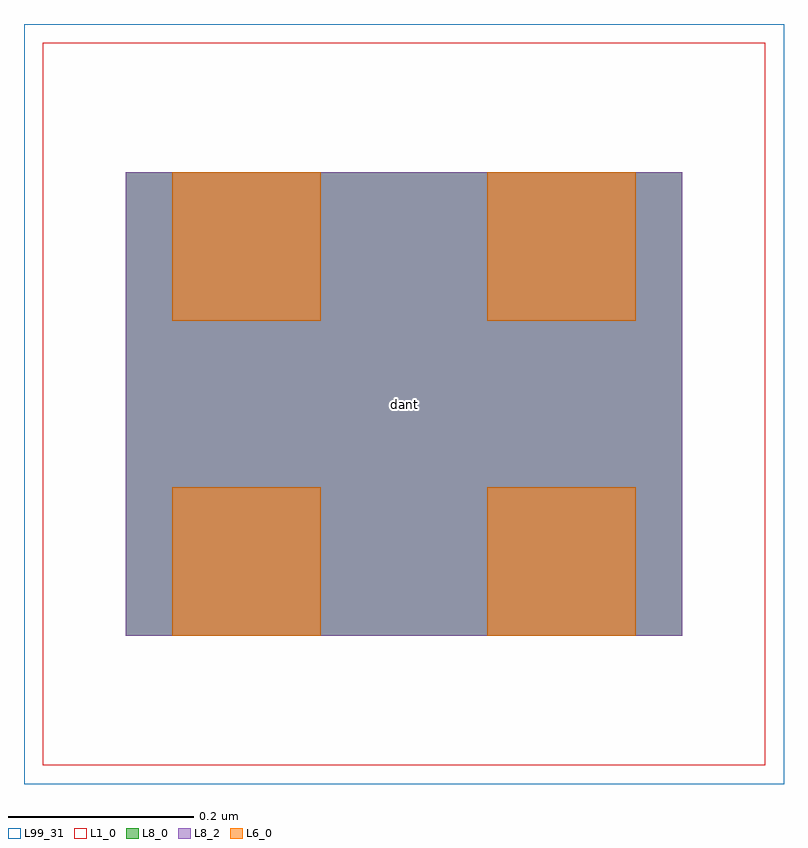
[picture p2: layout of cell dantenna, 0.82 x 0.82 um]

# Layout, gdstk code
import gdstk
lib = gdstk.Library(unit=1e-6, precision=1e-09)
def R(c, l, rs):  # rectangles x0, y0, x1, y1
    for r in rs: c.add(gdstk.rectangle(r[:2], r[2:], *l))
L1_0 = (1, 0)
L6_0 = (6, 0)
L8_0 = (8, 0)
L8_2 = (8, 2)
L99_31 = (99, 31)

dantenna = lib.new_cell('dantenna')
R(dantenna, L1_0, [(0,0,0.78,0.78)])
R(dantenna, L6_0, [(0.14,0.14,0.3,0.3), (0.48,0.14,0.64,0.3), (0.14,0.48,0.3,0.64), (0.48,0.48,0.64,0.64)])
R(dantenna, L8_0, [(0.09,0.14,0.69,0.64)])
R(dantenna, L8_2, [(0.09,0.14,0.69,0.64)])
R(dantenna, L99_31, [(-0.02,-0.02,0.8,0.8)])
dantenna.add(gdstk.Label('dant', (0.39,0.39), layer=63, texttype=0))

lib.write_gds('dantenna.gds')
